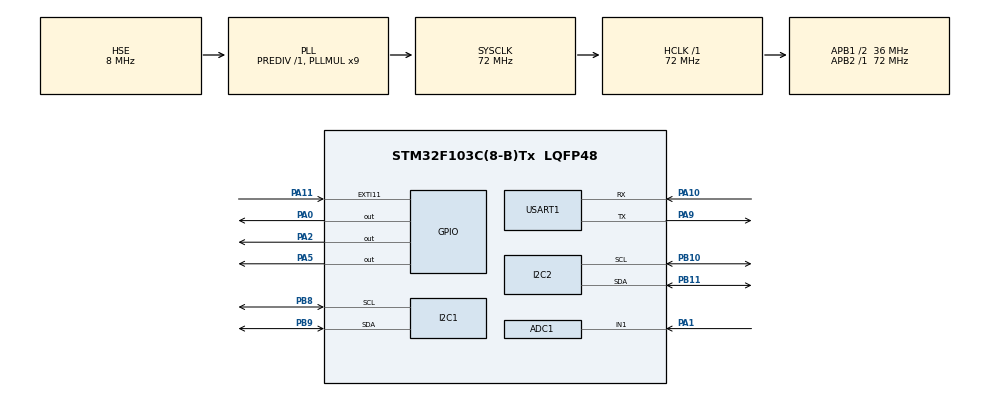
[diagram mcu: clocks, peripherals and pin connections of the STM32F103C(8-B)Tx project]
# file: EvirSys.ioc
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ADC1.Channel-0\#ChannelRegularConversion=ADC_CHANNEL_1
ADC1.NbrOfConversionFlag=1
ADC1.Rank-0\#ChannelRegularConversion=1
ADC1.SamplingTime-0\#ChannelRegularConversion=ADC_SAMPLETIME_1CYCLE_5
ADC1.master=1
Mcu.Family=STM32F1
Mcu.Name=STM32F103C(8-B)Tx
Mcu.Package=LQFP48
NVIC.EXTI15_10_IRQn=true\:0\:0\:true\:false\:true\:true\:true\:true
NVIC.PriorityGroup=NVIC_PRIORITYGROUP_4
NVIC.USART1_IRQn=true\:1\:0\:true\:false\:true\:true\:true\:true
PA0-WKUP.Signal=GPIO_Output
PA1.Signal=ADCx_IN1
PA10.Mode=Asynchronous
PA10.Signal=USART1_RX
PA11.GPIO_ModeDefaultEXTI=GPIO_MODE_IT_FALLING
PA11.GPIO_PuPd=GPIO_PULLUP
PA11.Signal=GPXTI11
PA13.Mode=Trace_Asynchronous_SW
PA13.Signal=SYS_JTMS-SWDIO
PA14.Mode=Trace_Asynchronous_SW
PA14.Signal=SYS_JTCK-SWCLK
PA2.GPIO_PuPd=GPIO_PULLUP
PA2.Signal=GPIO_Output
PA5.Signal=GPIO_Output
PA9.Mode=Asynchronous
PA9.Signal=USART1_TX
PB10.Mode=I2C
PB10.Signal=I2C2_SCL
PB11.Mode=I2C
PB11.Signal=I2C2_SDA
PB3.Mode=Trace_Asynchronous_SW
PB3.Signal=SYS_JTDO-TRACESWO
PB8.Mode=I2C
PB8.Signal=I2C1_SCL
PB9.Mode=I2C
PB9.Signal=I2C1_SDA
PD0-OSC_IN.Mode=HSE-External-Oscillator
PD0-OSC_IN.Signal=RCC_OSC_IN
PD1-OSC_OUT.Mode=HSE-External-Oscillator
PD1-OSC_OUT.Signal=RCC_OSC_OUT
ProjectManager.HeapSize=0x200
ProjectManager.StackSize=0x400
ProjectManager.TargetToolchain=STM32CubeIDE
RCC.ADCPresc=RCC_ADCPCLK2_DIV6
RCC.AHBFreq_Value=72000000
RCC.APB1CLKDivider=RCC_HCLK_DIV2
RCC.APB1Freq_Value=36000000
RCC.APB1TimFreq_Value=72000000
RCC.APB2Freq_Value=72000000
RCC.APB2TimFreq_Value=72000000
RCC.HCLKFreq_Value=72000000
RCC.PLLMUL=RCC_PLL_MUL9
RCC.PLLSourceVirtual=RCC_PLLSOURCE_HSE
RCC.SYSCLKFreq_VALUE=72000000
RCC.SYSCLKSource=RCC_SYSCLKSOURCE_PLLCLK
RCC.USBFreq_Value=72000000
SH.ADCx_IN1.0=ADC1_IN1,IN1
TIM1.Period=1
TIM1.Prescaler=72-1
USART1.VirtualMode=VM_ASYNC
VP_TIM1_VS_ClockSourceINT.Mode=Internal
board=custom

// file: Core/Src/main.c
/* USER CODE BEGIN Header */
/**
 ******************************************************************************
 * @file           : main.c
 * @brief          : Main program body
 ******************************************************************************
 * @attention
 *
 * Copyright (c) 2025 STMicroelectronics.
 * All rights reserved.
 *
 * This software is licensed under terms that can be found in the LICENSE file
 * in the root directory of this software component.
 * If no LICENSE file comes with this software, it is provided AS-IS.
 *
 ******************************************************************************
 */
/* USER CODE END Header */
#include "main.h"
#include "adc.h"
#include "i2c.h"
#include "tim.h"
#include "usart.h"
#include "gpio.h"

/* USER CODE BEGIN Includes */
#include "oled.h"
#include "ds18b20.h"
#include "bh1750.h"
#include "mq7.h"
#include "string.h"
#include  <stdlib.h>
#include <stdbool.h>
/* USER CODE END Includes */

/* USER CODE BEGIN PV */
bool led_state=false;
uint8_t rx_data;
/* USER CODE END PV */

void SystemClock_Config(void);

int main(void)
{

  /* MCU Configuration--------------------------------------------------------*/

  /* Reset of all peripherals, Initializes the Flash interface and the Systick. */
  HAL_Init();

  /* Configure the system clock */
  SystemClock_Config();

  /* Initialize all configured peripherals */
  MX_GPIO_Init();
  MX_I2C1_Init();
  MX_USART1_UART_Init();
  MX_TIM1_Init();
  MX_I2C2_Init();
  MX_ADC1_Init();
  /* USER CODE BEGIN 2 */
	static MQ7_HandleTypeDef mq7_dev;
	OLED_Init();
	// 初始化（参数：句柄、ADC句柄、通道、参考电压、负载电阻）
	MQ7_Init(&mq7_dev, &hadc1);
	OLED_ShowNum(3, 1,10 ,5);
	DS18B20_Init();
	HAL_UART_Receive_IT(&huart1,&rx_data,1);
  /* USER CODE END 2 */

  /* Infinite loop */
	while (1)
	{

    /* USER CODE BEGIN 3 */
	//LED灯逻辑
		/* if (led_state) {
		      HAL_GPIO_WritePin(GPIOA, GPIO_PIN_5, GPIO_PIN_SET); // 高电平亮
		    } else {
		      HAL_GPIO_WritePin(GPIOA, GPIO_PIN_5, GPIO_PIN_RESET); // 低电平灭
		    }*/
		// 1. 获取各传感器数据
		    float co_ppm = MQ7_GetPPM(&mq7_dev);
		    short temp = DS18B20_Get_Temp();
		    uint16_t bh1750_lux = Get_BH1750_Value();

		    // 2. 构造并打印JSON（利用重定向的printf直接发送到串口）
		    if (temp != -1) {
		        // 温度正常：包含co、temp（保留1位小数）、lux
		        printf("{\"co\":%.1f,\"temp\":%.1f,\"lux\":%d}\n",
		               co_ppm,
		               (float)temp / 10.0f,  // 转换为实际温度（如255→25.5）
		               bh1750_lux);
		    } else {
		        // 温度异常：temp字段用null表示
		        printf("{\"co\":%.1f,\"temp\":null,\"lux\":%d}\n",
		               co_ppm,
		               bh1750_lux);
		    }
		HAL_Delay(100);
	}
  /* USER CODE END 3 */
}

void SystemClock_Config(void)
{
  RCC_OscInitTypeDef RCC_OscInitStruct = {0};
  RCC_ClkInitTypeDef RCC_ClkInitStruct = {0};
  RCC_PeriphCLKInitTypeDef PeriphClkInit = {0};

  /** Initializes the RCC Oscillators according to the specified parameters
  * in the RCC_OscInitTypeDef structure.
  */
  RCC_OscInitStruct.OscillatorType = RCC_OSCILLATORTYPE_HSE;
  RCC_OscInitStruct.HSEState = RCC_HSE_ON;
  RCC_OscInitStruct.HSEPredivValue = RCC_HSE_PREDIV_DIV1;
  RCC_OscInitStruct.HSIState = RCC_HSI_ON;
  RCC_OscInitStruct.PLL.PLLState = RCC_PLL_ON;
  RCC_OscInitStruct.PLL.PLLSource = RCC_PLLSOURCE_HSE;
  RCC_OscInitStruct.PLL.PLLMUL = RCC_PLL_MUL9;
  if (HAL_RCC_OscConfig(&RCC_OscInitStruct) != HAL_OK)
  {
    Error_Handler();
  }

  /** Initializes the CPU, AHB and APB buses clocks
  */
  RCC_ClkInitStruct.ClockType = RCC_CLOCKTYPE_HCLK|RCC_CLOCKTYPE_SYSCLK
                              |RCC_CLOCKTYPE_PCLK1|RCC_CLOCKTYPE_PCLK2;
  RCC_ClkInitStruct.SYSCLKSource = RCC_SYSCLKSOURCE_PLLCLK;
  RCC_ClkInitStruct.AHBCLKDivider = RCC_SYSCLK_DIV1;
  RCC_ClkInitStruct.APB1CLKDivider = RCC_HCLK_DIV2;
  RCC_ClkInitStruct.APB2CLKDivider = RCC_HCLK_DIV1;

  if (HAL_RCC_ClockConfig(&RCC_ClkInitStruct, FLASH_LATENCY_2) != HAL_OK)
  {
    Error_Handler();
  }
  PeriphClkInit.PeriphClockSelection = RCC_PERIPHCLK_ADC;
  PeriphClkInit.AdcClockSelection = RCC_ADCPCLK2_DIV6;
  if (HAL_RCCEx_PeriphCLKConfig(&PeriphClkInit) != HAL_OK)
  {
    Error_Handler();
  }
}

void Error_Handler(void)
{
	__disable_irq();
	while (1)
	{
	}
}
